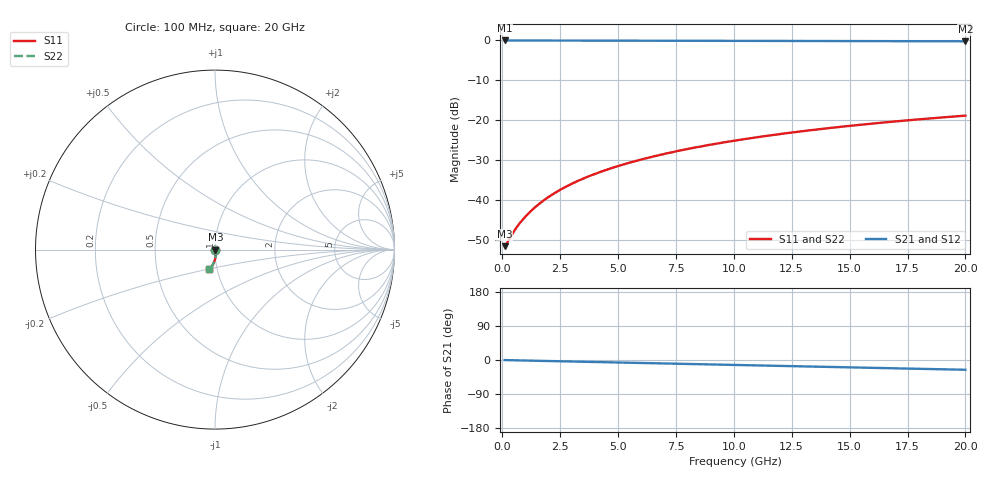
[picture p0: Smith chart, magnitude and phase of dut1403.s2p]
! Touchstone file exported from HFSS 2026.1.0
!  File:  C:/ffzhzh/LocalFiles/Ansys_Project_Files/temp_train_BSMRDL_1403_1783179904_18472.aedt
!  Generated:  11:46:09 PM Jul  4, 2026
!  Design:  BSMRDL
!  Project:  temp_train_BSMRDL_1403_1783179904_18472
! Variables:
!  h_bsmrdl = 3.13um
!  h_ox = 20um
!  h_rdl = 5um
!  h_sub = 80um
!  h_tmrdl = 5um
!  h_tsv = 80um
!  h_via = 3um
!  l_bsmrdl = 435.6um
!  l_sub = 835.6um
!  l_tmrdl = 200um
!  m_sub = 200um
!  pitch = 22.58um
!  r_tsv = 6um
!  s_tmrdl = 10um
!  w_bsmrdl = 20.8um
!  w_sub = 500um
!  w_tmrdl = 12um
!  x_tsv_center1 = 206um
!  x_tsv_center2 = 662.4um
!  x_tsv_center3 = 874.4um
!  x_tsv_center4 = 1330.8um
!  x_tsv_center5 = 1542.8um
!  x_tsv_center6 = 1999.2um
# GHz S MA R 50.000000
! Terminal data exported
! Port[1] = BSM_RDL1_1_T1
! Port[2] = BSM_RDL1_1_T2
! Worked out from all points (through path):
!   200 points, 100 MHz to 20 GHz, reference 50 ohm
!   highest |S21| = -0.02 dB at 100 MHz (marker M1); lowest = -0.2 dB at 20 GHz (marker M2)
!   group delay of S21, straight-line fit = 3.56 ps
!   lowest |S11| = -51.5 dB at 100 MHz (marker M3), VSWR 1.01, Z = 50.3 + j0.00349 ohm
!   |S11| at or under -10 dB: start of sweep to end of sweep
!   |S22| runs from -51.5 to -18.9 dB; largest |S21 - S12| = 6.6e-15
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0.1  0.002652 0.7  0.9973 -0.2  0.9973 -0.2  0.002652 0.8
! Gamma 0 0 0 0
! Port Impedance 50 0 50 0
0.2  0.002901 -0.3  0.9971 -0.3  0.9971 -0.3  0.002901 -0.3
0.5  0.004053 -13.1  0.996 -0.8  0.996 -0.8  0.004052 -13.1
0.7  0.004906 -23.4  0.9955 -1.0  0.9955 -1.0  0.004905 -23.4
1  0.006227 -36.2  0.9949 -1.4  0.9949 -1.4  0.006225 -36.2
1.2  0.007136 -42.8  0.9946 -1.7  0.9946 -1.7  0.007134 -42.8
1.4  0.008067 -48.2  0.9944 -1.9  0.9944 -1.9  0.008064 -48.2
1.8  0.009982 -56.2  0.9941 -2.5  0.9941 -2.5  0.009979 -56.3
2.3  0.01246 -63.1  0.9937 -3.1  0.9937 -3.1  0.01245 -63.1
2.9  0.01551 -68.6  0.9933 -3.9  0.9933 -3.9  0.0155 -68.7
3.5  0.01863 -72.5  0.9928 -4.7  0.9928 -4.7  0.01863 -72.6
4.2  0.02236 -75.9  0.9922 -5.6  0.9922 -5.6  0.02235 -76.0
5  0.0267 -78.9  0.9915 -6.7  0.9915 -6.7  0.02669 -78.9
5.9  0.03169 -81.5  0.9906 -7.9  0.9906 -7.9  0.03167 -81.6
6.8  0.03676 -83.7  0.9896 -9.0  0.9896 -9.0  0.03675 -83.8
8.4  0.04598 -87.1  0.9878 -11.1  0.9878 -11.1  0.04595 -87.2
10.1  0.05595 -90.2  0.9858 -13.3  0.9858 -13.3  0.05591 -90.3
11.7  0.06543 -93.0  0.9838 -15.3  0.9838 -15.3  0.06539 -93.1
13.4  0.07555 -95.7  0.9816 -17.5  0.9816 -17.5  0.0755 -95.9
15  0.08505 -98.3  0.9796 -19.5  0.9796 -19.5  0.08499 -98.5
16.7  0.09508 -100.9  0.9774 -21.6  0.9774 -21.6  0.09501 -101.1
20  0.1142 -105.8  0.973 -25.7  0.973 -25.7  0.1141 -106.0
